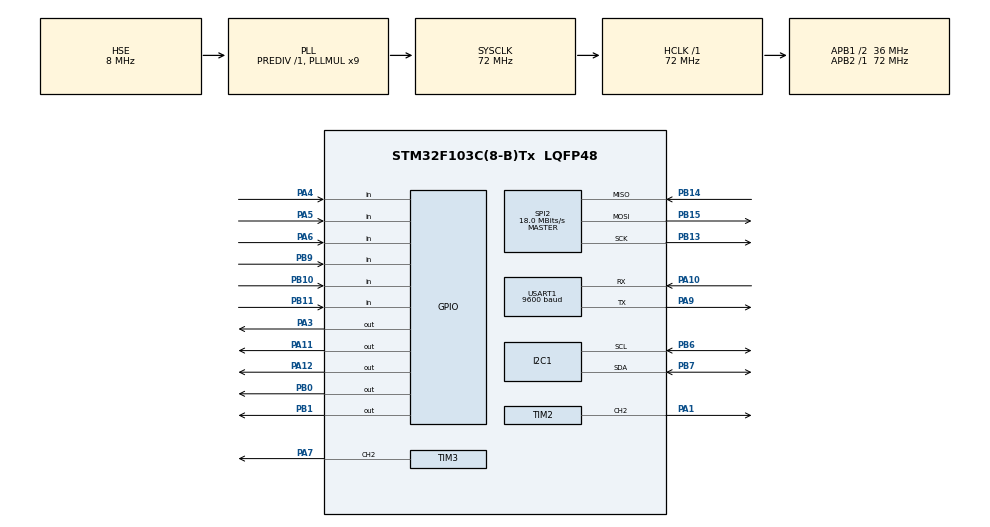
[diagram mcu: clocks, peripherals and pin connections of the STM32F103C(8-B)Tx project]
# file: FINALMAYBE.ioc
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Mcu.Family=STM32F1
Mcu.Name=STM32F103C(8-B)Tx
Mcu.Package=LQFP48
NVIC.I2C1_ER_IRQn=true\:0\:0\:false\:false\:true\:true\:true\:true
NVIC.I2C1_EV_IRQn=true\:0\:0\:false\:false\:true\:true\:true\:true
NVIC.PriorityGroup=NVIC_PRIORITYGROUP_4
NVIC.SPI2_IRQn=true\:0\:0\:false\:false\:true\:true\:true\:true
NVIC.TIM2_IRQn=true\:0\:0\:false\:false\:true\:true\:true\:true
NVIC.USART1_IRQn=true\:0\:0\:false\:false\:true\:true\:true\:true
PA1.Signal=S_TIM2_CH2
PA10.Mode=Asynchronous
PA10.Signal=USART1_RX
PA11.Signal=GPIO_Output
PA12.Signal=GPIO_Output
PA13.Mode=Serial_Wire
PA13.Signal=SYS_JTMS-SWDIO
PA14.Mode=Serial_Wire
PA14.Signal=SYS_JTCK-SWCLK
PA3.GPIO_PuPd=GPIO_PULLUP
PA3.Signal=GPIO_Output
PA4.GPIO_PuPd=GPIO_PULLDOWN
PA4.Signal=GPIO_Input
PA5.GPIO_PuPd=GPIO_PULLDOWN
PA5.Signal=GPIO_Input
PA6.GPIO_PuPd=GPIO_PULLDOWN
PA6.Signal=GPIO_Input
PA7.Signal=S_TIM3_CH2
PA9.Mode=Asynchronous
PA9.Signal=USART1_TX
PB0.Signal=GPIO_Output
PB1.Signal=GPIO_Output
PB10.Signal=GPIO_Input
PB11.Signal=GPIO_Input
PB13.Mode=Full_Duplex_Master
PB13.Signal=SPI2_SCK
PB14.Mode=Full_Duplex_Master
PB14.Signal=SPI2_MISO
PB15.Mode=Full_Duplex_Master
PB15.Signal=SPI2_MOSI
PB6.Mode=I2C
PB6.Signal=I2C1_SCL
PB7.Mode=I2C
PB7.Signal=I2C1_SDA
PB9.Signal=GPIO_Input
PD0-OSC_IN.Mode=HSE-External-Oscillator
PD0-OSC_IN.Signal=RCC_OSC_IN
PD1-OSC_OUT.Mode=HSE-External-Oscillator
PD1-OSC_OUT.Signal=RCC_OSC_OUT
ProjectManager.HeapSize=0x200
ProjectManager.StackSize=0x400
ProjectManager.TargetToolchain=MDK-ARM V5
RCC.AHBFreq_Value=72000000
RCC.APB1CLKDivider=RCC_HCLK_DIV2
RCC.APB1Freq_Value=36000000
RCC.APB1TimFreq_Value=72000000
RCC.APB2Freq_Value=72000000
RCC.APB2TimFreq_Value=72000000
RCC.HCLKFreq_Value=72000000
RCC.PLLMUL=RCC_PLL_MUL9
RCC.PLLSourceVirtual=RCC_PLLSOURCE_HSE
RCC.SYSCLKFreq_VALUE=72000000
RCC.SYSCLKSource=RCC_SYSCLKSOURCE_PLLCLK
RCC.USBFreq_Value=72000000
SH.S_TIM2_CH2.0=TIM2_CH2,PWM Generation2 CH2
SH.S_TIM3_CH2.0=TIM3_CH2,PWM Generation2 CH2
SPI2.BaudRatePrescaler=SPI_BAUDRATEPRESCALER_2
SPI2.CalculateBaudRate=18.0 MBits/s
SPI2.Direction=SPI_DIRECTION_2LINES
SPI2.Mode=SPI_MODE_MASTER
SPI2.VirtualType=VM_MASTER
TIM1.Prescaler=71
TIM2.Channel-PWM\ Generation2\ CH2=TIM_CHANNEL_2
TIM2.Period=999
TIM2.Prescaler=1440
TIM3.Channel-PWM\ Generation2\ CH2=TIM_CHANNEL_2
TIM3.Period=999
TIM3.Prescaler=1440
TIM4.Prescaler=71
USART1.BaudRate=9600
USART1.VirtualMode=VM_ASYNC
VP_TIM1_VS_ClockSourceINT.Mode=Internal
VP_TIM2_VS_ClockSourceINT.Mode=Internal
VP_TIM3_VS_ClockSourceINT.Mode=Internal
VP_TIM4_VS_ClockSourceINT.Mode=Internal
board=custom

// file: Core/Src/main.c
/* USER CODE BEGIN Header */
/**
  ******************************************************************************
  * @file           : main.c
  * @brief          : Main program body
  ******************************************************************************
  * @attention
  *
  * Copyright (c) 2022 STMicroelectronics.
  * All rights reserved.
  *
  * This software is licensed under terms that can be found in the LICENSE file
  * in the root directory of this software component.
  * If no LICENSE file comes with this software, it is provided AS-IS.
  *
  ******************************************************************************
  */
/* USER CODE END Header */
#include "main.h"

/* USER CODE BEGIN Includes */
#include "i2c-lcd.h"
#include "maxtric.h"
#include "hcsr04.h"
#include "stdio.h"
/* USER CODE END Includes */

/* USER CODE BEGIN PD */
/*#define No_Op  0x00
#define Digit0 0x01
#define Digit1 0x02
#define Digit2 0x03
#define Digit3 0x04
#define Digit4 0x05
#define Digit5 0x06
#define Digit6 0x07
#define Digit7 0x08

#define DecodeMode  0x09
#define Intensity   0x0A
#define ScanLimit   0x0B
#define Shutdown    0x0C
#define DisplayTest 0x0F

#define TRIG_PIN GPIO_PIN_0
#define TRIG_PORT GPIOB
#define ECHO_PIN GPIO_PIN_10
#define ECHO_PORT GPIOB

#define TRIG_PIN1 GPIO_PIN_1
#define TRIG_PORT1 GPIOB
#define ECHO_PIN1 GPIO_PIN_11
#define ECHO_PORT1 GPIOB*/
/* USER CODE END PD */

 I2C_HandleTypeDef hi2c1;

SPI_HandleTypeDef hspi2;

TIM_HandleTypeDef htim1;
TIM_HandleTypeDef htim2;
TIM_HandleTypeDef htim3;
TIM_HandleTypeDef htim4;

UART_HandleTypeDef huart1;

void SystemClock_Config(void);
static void MX_GPIO_Init(void);
static void MX_I2C1_Init(void);
static void MX_SPI2_Init(void);
static void MX_TIM2_Init(void);
static void MX_USART1_UART_Init(void);
static void MX_TIM3_Init(void);
static void MX_TIM1_Init(void);
static void MX_TIM4_Init(void);
/* USER CODE BEGIN PFP */
int find_distance(int distance);
void Show(int total);
void check_if(void);
int find_distance1(int distance);
void check_io_1(void);
void check_io_2(void);
void check_total(void);
void check_distance_in_open(void);
void check_distance_out_open(void);
void led_2_on(void);
void led_2_off(void);
void led_1_on(void);
void led_1_off(void);
void uart_send_distance_entrance(void);
void uart_send_distance_out(void);
/* USER CODE END PFP */

/* USER CODE BEGIN 0 */
int show_num0[8][8] =
{ {0, 0, 1, 1, 1, 1, 0, 0},
  {0, 1, 1, 0, 0, 1, 1, 0},
  {0, 1, 1, 1, 0, 0, 1, 0},
  {0, 1, 0, 1, 1, 0, 1, 0},
  {0, 1, 0, 0, 1, 1, 1, 0},
  {0, 1, 0, 0, 0, 1, 1, 0},
  {0, 1, 1, 0, 0, 1, 1, 0},
  {0, 0, 1, 1, 1, 1, 0, 0}
};
int show_num1[8][8] =
{ {0, 0, 0, 0, 1, 0, 0, 0},
  {0, 0, 0, 1, 1, 0, 0, 0},
  {0, 0, 1, 1, 1, 0, 0, 0},
  {0, 0, 0, 1, 1, 0, 0, 0},
  {0, 0, 0, 1, 1, 0, 0, 0},
  {0, 0, 0, 1, 1, 0, 0, 0},
  {0, 0, 0, 1, 1, 0, 0, 0},
  {0, 0, 1, 1, 1, 1, 0, 0}
};
int show_num2[8][8] =
{ {0, 0, 1, 1, 1, 1, 0, 0},
  {0, 1, 1, 0, 0, 1, 1, 0},
  {0, 1, 0, 0, 0, 1, 1, 0},
  {0, 1, 0, 0, 0, 1, 1, 0},
  {0, 0, 0, 1, 1, 1, 0, 0},
  {0, 0, 1, 1, 0, 0, 0, 0},
  {0, 1, 1, 0, 0, 0, 0, 0},
  {0, 1, 1, 1, 1, 1, 1, 0}
};
int show_num3[8][8] =
{ {0, 0, 1, 1, 1, 1, 0, 0},
  {0, 1, 0, 0, 0, 1, 1, 0},
  {0, 0, 0, 0, 0, 1, 1, 0},
  {0, 0, 0, 1, 1, 1, 1, 0},
  {0, 0, 0, 1, 1, 1, 1, 0},
  {0, 0, 0, 0, 0, 1, 1, 0},
  {0, 1, 0, 0, 0, 1, 1, 0},
  {0, 0, 1, 1, 1, 1, 0, 0}
};
int count=0;
int state1,state2,state3=0;
int total = 0;
char string[15];
int infor_one_time,infor_one_time_1,infor_one_time_leave,infor_one_time_leave_1=0;
uint16_t distance  = 0;
uint8_t msg_entrance[35];
uint8_t msg_out[35];
/* USER CODE END 0 */

int main(void)
{

  /* MCU Configuration--------------------------------------------------------*/

  /* Reset of all peripherals, Initializes the Flash interface and the Systick. */
  HAL_Init();

  /* USER CODE BEGIN Init */
	lcd_init();
  /* USER CODE END Init */

  /* Configure the system clock */
  SystemClock_Config();

  /* Initialize all configured peripherals */
  MX_GPIO_Init();
  MX_I2C1_Init();
  MX_SPI2_Init();
  MX_TIM2_Init();
  MX_USART1_UART_Init();
  MX_TIM3_Init();
  MX_TIM1_Init();
  MX_TIM4_Init();
  /* USER CODE BEGIN 2 */
  MAX7219_write(DecodeMode, 0x00);
  MAX7219_write(Intensity, 0x02);
  MAX7219_write(Shutdown, 0x01);
  MAX7219_write(DisplayTest, 0x00);
  MAX7219_write(ScanLimit, 0x07);
  MAX7219clear();//Clear MAX7219 LED Show
	HAL_TIM_PWM_Start(&htim2,TIM_CHANNEL_2);
	HAL_TIM_PWM_Start(&htim3,TIM_CHANNEL_2);
	HAL_TIM_Base_Start(&htim1);
  HAL_GPIO_WritePin(TRIG_PORT, TRIG_PIN, GPIO_PIN_RESET);
	HAL_TIM_Base_Start(&htim4);
  HAL_GPIO_WritePin(TRIG_PORT1, TRIG_PIN1, GPIO_PIN_RESET);
	lcd_clear();
	lcd_send_string(" Welcome ");
  /* USER CODE END 2 */

  /* Infinite loop */
  while (1)
  {

    /* USER CODE BEGIN 3 */
		__HAL_TIM_SET_COMPARE(&htim2,TIM_CHANNEL_2,75);
		HAL_Delay(300);
		__HAL_TIM_SET_COMPARE(&htim2,TIM_CHANNEL_2,25);
  /* USER CODE END 3 */
}

void SystemClock_Config(void)
{
  RCC_OscInitTypeDef RCC_OscInitStruct = {0};
  RCC_ClkInitTypeDef RCC_ClkInitStruct = {0};

  /** Initializes the RCC Oscillators according to the specified parameters
  * in the RCC_OscInitTypeDef structure.
  */
  RCC_OscInitStruct.OscillatorType = RCC_OSCILLATORTYPE_HSE;
  RCC_OscInitStruct.HSEState = RCC_HSE_ON;
  RCC_OscInitStruct.HSEPredivValue = RCC_HSE_PREDIV_DIV1;
  RCC_OscInitStruct.HSIState = RCC_HSI_ON;
  RCC_OscInitStruct.PLL.PLLState = RCC_PLL_ON;
  RCC_OscInitStruct.PLL.PLLSource = RCC_PLLSOURCE_HSE;
  RCC_OscInitStruct.PLL.PLLMUL = RCC_PLL_MUL9;
  if (HAL_RCC_OscConfig(&RCC_OscInitStruct) != HAL_OK)
  {
    Error_Handler();
  }

  /** Initializes the CPU, AHB and APB buses clocks
  */
  RCC_ClkInitStruct.ClockType = RCC_CLOCKTYPE_HCLK|RCC_CLOCKTYPE_SYSCLK
                              |RCC_CLOCKTYPE_PCLK1|RCC_CLOCKTYPE_PCLK2;
  RCC_ClkInitStruct.SYSCLKSource = RCC_SYSCLKSOURCE_PLLCLK;
  RCC_ClkInitStruct.AHBCLKDivider = RCC_SYSCLK_DIV1;
  RCC_ClkInitStruct.APB1CLKDivider = RCC_HCLK_DIV2;
  RCC_ClkInitStruct.APB2CLKDivider = RCC_HCLK_DIV1;

  if (HAL_RCC_ClockConfig(&RCC_ClkInitStruct, FLASH_LATENCY_2) != HAL_OK)
  {
    Error_Handler();
  }
}

static void MX_I2C1_Init(void)
{

  hi2c1.Instance = I2C1;
  hi2c1.Init.ClockSpeed = 100000;
  hi2c1.Init.DutyCycle = I2C_DUTYCYCLE_2;
  hi2c1.Init.OwnAddress1 = 0;
  hi2c1.Init.AddressingMode = I2C_ADDRESSINGMODE_7BIT;
  hi2c1.Init.DualAddressMode = I2C_DUALADDRESS_DISABLE;
  hi2c1.Init.OwnAddress2 = 0;
  hi2c1.Init.GeneralCallMode = I2C_GENERALCALL_DISABLE;
  hi2c1.Init.NoStretchMode = I2C_NOSTRETCH_DISABLE;
  if (HAL_I2C_Init(&hi2c1) != HAL_OK)
  {
    Error_Handler();
  }

}

static void MX_SPI2_Init(void)
{

  /* SPI2 parameter configuration*/
  hspi2.Instance = SPI2;
  hspi2.Init.Mode = SPI_MODE_MASTER;
  hspi2.Init.Direction = SPI_DIRECTION_2LINES;
  hspi2.Init.DataSize = SPI_DATASIZE_8BIT;
  hspi2.Init.CLKPolarity = SPI_POLARITY_LOW;
  hspi2.Init.CLKPhase = SPI_PHASE_1EDGE;
  hspi2.Init.NSS = SPI_NSS_SOFT;
  hspi2.Init.BaudRatePrescaler = SPI_BAUDRATEPRESCALER_2;
  hspi2.Init.FirstBit = SPI_FIRSTBIT_MSB;
  hspi2.Init.TIMode = SPI_TIMODE_DISABLE;
  hspi2.Init.CRCCalculation = SPI_CRCCALCULATION_DISABLE;
  hspi2.Init.CRCPolynomial = 10;
  if (HAL_SPI_Init(&hspi2) != HAL_OK)
  {
    Error_Handler();
  }

}

static void MX_TIM1_Init(void)
{

  TIM_ClockConfigTypeDef sClockSourceConfig = {0};
  TIM_MasterConfigTypeDef sMasterConfig = {0};

  htim1.Instance = TIM1;
  htim1.Init.Prescaler = 71;
  htim1.Init.CounterMode = TIM_COUNTERMODE_UP;
  htim1.Init.Period = 65535;
  htim1.Init.ClockDivision = TIM_CLOCKDIVISION_DIV1;
  htim1.Init.RepetitionCounter = 0;
  htim1.Init.AutoReloadPreload = TIM_AUTORELOAD_PRELOAD_DISABLE;
  if (HAL_TIM_Base_Init(&htim1) != HAL_OK)
  {
    Error_Handler();
  }
  sClockSourceConfig.ClockSource = TIM_CLOCKSOURCE_INTERNAL;
  if (HAL_TIM_ConfigClockSource(&htim1, &sClockSourceConfig) != HAL_OK)
  {
    Error_Handler();
  }
  sMasterConfig.MasterOutputTrigger = TIM_TRGO_RESET;
  sMasterConfig.MasterSlaveMode = TIM_MASTERSLAVEMODE_DISABLE;
  if (HAL_TIMEx_MasterConfigSynchronization(&htim1, &sMasterConfig) != HAL_OK)
  {
    Error_Handler();
  }

}

static void MX_TIM2_Init(void)
{

  TIM_ClockConfigTypeDef sClockSourceConfig = {0};
  TIM_MasterConfigTypeDef sMasterConfig = {0};
  TIM_OC_InitTypeDef sConfigOC = {0};

  htim2.Instance = TIM2;
  htim2.Init.Prescaler = 1440;
  htim2.Init.CounterMode = TIM_COUNTERMODE_UP;
  htim2.Init.Period = 999;
  htim2.Init.ClockDivision = TIM_CLOCKDIVISION_DIV1;
  htim2.Init.AutoReloadPreload = TIM_AUTORELOAD_PRELOAD_DISABLE;
  if (HAL_TIM_Base_Init(&htim2) != HAL_OK)
  {
    Error_Handler();
  }
  sClockSourceConfig.ClockSource = TIM_CLOCKSOURCE_INTERNAL;
  if (HAL_TIM_ConfigClockSource(&htim2, &sClockSourceConfig) != HAL_OK)
  {
    Error_Handler();
  }
  if (HAL_TIM_PWM_Init(&htim2) != HAL_OK)
  {
    Error_Handler();
  }
  sMasterConfig.MasterOutputTrigger = TIM_TRGO_RESET;
  sMasterConfig.MasterSlaveMode = TIM_MASTERSLAVEMODE_DISABLE;
  if (HAL_TIMEx_MasterConfigSynchronization(&htim2, &sMasterConfig) != HAL_OK)
  {
    Error_Handler();
  }
  sConfigOC.OCMode = TIM_OCMODE_PWM1;
  sConfigOC.Pulse = 0;
  sConfigOC.OCPolarity = TIM_OCPOLARITY_HIGH;
  sConfigOC.OCFastMode = TIM_OCFAST_DISABLE;
  if (HAL_TIM_PWM_ConfigChannel(&htim2, &sConfigOC, TIM_CHANNEL_2) != HAL_OK)
  {
    Error_Handler();
  }
  HAL_TIM_MspPostInit(&htim2);

}

static void MX_TIM3_Init(void)
{

  TIM_ClockConfigTypeDef sClockSourceConfig = {0};
  TIM_MasterConfigTypeDef sMasterConfig = {0};
  TIM_OC_InitTypeDef sConfigOC = {0};

  htim3.Instance = TIM3;
  htim3.Init.Prescaler = 1440;
  htim3.Init.CounterMode = TIM_COUNTERMODE_UP;
  htim3.Init.Period = 999;
  htim3.Init.ClockDivision = TIM_CLOCKDIVISION_DIV1;
  htim3.Init.AutoReloadPreload = TIM_AUTORELOAD_PRELOAD_DISABLE;
  if (HAL_TIM_Base_Init(&htim3) != HAL_OK)
  {
    Error_Handler();
  }
  sClockSourceConfig.ClockSource = TIM_CLOCKSOURCE_INTERNAL;
  if (HAL_TIM_ConfigClockSource(&htim3, &sClockSourceConfig) != HAL_OK)
  {
    Error_Handler();
  }
  if (HAL_TIM_PWM_Init(&htim3) != HAL_OK)
  {
    Error_Handler();
  }
  sMasterConfig.MasterOutputTrigger = TIM_TRGO_RESET;
  sMasterConfig.MasterSlaveMode = TIM_MASTERSLAVEMODE_DISABLE;
  if (HAL_TIMEx_MasterConfigSynchronization(&htim3, &sMasterConfig) != HAL_OK)
  {
    Error_Handler();
  }
  sConfigOC.OCMode = TIM_OCMODE_PWM1;
  sConfigOC.Pulse = 0;
  sConfigOC.OCPolarity = TIM_OCPOLARITY_HIGH;
  sConfigOC.OCFastMode = TIM_OCFAST_DISABLE;
  if (HAL_TIM_PWM_ConfigChannel(&htim3, &sConfigOC, TIM_CHANNEL_2) != HAL_OK)
  {
    Error_Handler();
  }
  HAL_TIM_MspPostInit(&htim3);

}

static void MX_TIM4_Init(void)
{

  TIM_ClockConfigTypeDef sClockSourceConfig = {0};
  TIM_MasterConfigTypeDef sMasterConfig = {0};

  htim4.Instance = TIM4;
  htim4.Init.Prescaler = 71;
  htim4.Init.CounterMode = TIM_COUNTERMODE_UP;
  htim4.Init.Period = 65535;
  htim4.Init.ClockDivision = TIM_CLOCKDIVISION_DIV1;
  htim4.Init.AutoReloadPreload = TIM_AUTORELOAD_PRELOAD_DISABLE;
  if (HAL_TIM_Base_Init(&htim4) != HAL_OK)
  {
    Error_Handler();
  }
  sClockSourceConfig.ClockSource = TIM_CLOCKSOURCE_INTERNAL;
  if (HAL_TIM_ConfigClockSource(&htim4, &sClockSourceConfig) != HAL_OK)
  {
    Error_Handler();
  }
  sMasterConfig.MasterOutputTrigger = TIM_TRGO_RESET;
  sMasterConfig.MasterSlaveMode = TIM_MASTERSLAVEMODE_DISABLE;
  if (HAL_TIMEx_MasterConfigSynchronization(&htim4, &sMasterConfig) != HAL_OK)
  {
    Error_Handler();
  }

}

static void MX_USART1_UART_Init(void)
{

  huart1.Instance = USART1;
  huart1.Init.BaudRate = 9600;
  huart1.Init.WordLength = UART_WORDLENGTH_8B;
  huart1.Init.StopBits = UART_STOPBITS_1;
  huart1.Init.Parity = UART_PARITY_NONE;
  huart1.Init.Mode = UART_MODE_TX_RX;
  huart1.Init.HwFlowCtl = UART_HWCONTROL_NONE;
  huart1.Init.OverSampling = UART_OVERSAMPLING_16;
  if (HAL_UART_Init(&huart1) != HAL_OK)
  {
    Error_Handler();
  }

}

static void MX_GPIO_Init(void)
{
  GPIO_InitTypeDef GPIO_InitStruct = {0};

  /* GPIO Ports Clock Enable */
  __HAL_RCC_GPIOD_CLK_ENABLE();
  __HAL_RCC_GPIOA_CLK_ENABLE();
  __HAL_RCC_GPIOB_CLK_ENABLE();

  /*Configure GPIO pin Output Level */
  HAL_GPIO_WritePin(GPIOA, GPIO_PIN_3|GPIO_PIN_11|GPIO_PIN_12, GPIO_PIN_RESET);

  /*Configure GPIO pin Output Level */
  HAL_GPIO_WritePin(GPIOB, GPIO_PIN_0|GPIO_PIN_1, GPIO_PIN_RESET);

  /*Configure GPIO pin : PA3 */
  GPIO_InitStruct.Pin = GPIO_PIN_3;
  GPIO_InitStruct.Mode = GPIO_MODE_OUTPUT_PP;
  GPIO_InitStruct.Pull = GPIO_PULLUP;
  GPIO_InitStruct.Speed = GPIO_SPEED_FREQ_LOW;
  HAL_GPIO_Init(GPIOA, &GPIO_InitStruct);

  /*Configure GPIO pins : PA4 PA5 PA6 */
  GPIO_InitStruct.Pin = GPIO_PIN_4|GPIO_PIN_5|GPIO_PIN_6;
  GPIO_InitStruct.Mode = GPIO_MODE_INPUT;
  GPIO_InitStruct.Pull = GPIO_PULLDOWN;
  HAL_GPIO_Init(GPIOA, &GPIO_InitStruct);

  /*Configure GPIO pins : PB0 PB1 */
  GPIO_InitStruct.Pin = GPIO_PIN_0|GPIO_PIN_1;
  GPIO_InitStruct.Mode = GPIO_MODE_OUTPUT_PP;
  GPIO_InitStruct.Pull = GPIO_NOPULL;
  GPIO_InitStruct.Speed = GPIO_SPEED_FREQ_LOW;
  HAL_GPIO_Init(GPIOB, &GPIO_InitStruct);

  /*Configure GPIO pins : PB10 PB11 PB9 */
  GPIO_InitStruct.Pin = GPIO_PIN_10|GPIO_PIN_11|GPIO_PIN_9;
  GPIO_InitStruct.Mode = GPIO_MODE_INPUT;
  GPIO_InitStruct.Pull = GPIO_NOPULL;
  HAL_GPIO_Init(GPIOB, &GPIO_InitStruct);

  /*Configure GPIO pins : PA11 PA12 */
  GPIO_InitStruct.Pin = GPIO_PIN_11|GPIO_PIN_12;
  GPIO_InitStruct.Mode = GPIO_MODE_OUTPUT_PP;
  GPIO_InitStruct.Pull = GPIO_NOPULL;
  GPIO_InitStruct.Speed = GPIO_SPEED_FREQ_LOW;
  HAL_GPIO_Init(GPIOA, &GPIO_InitStruct);

}

/* USER CODE BEGIN 4 */

void check_io_1()
{
	if (HAL_GPIO_ReadPin(GPIOA,GPIO_PIN_4)==GPIO_PIN_RESET)
			{
				state1=1;
				led_1_on();
				while(infor_one_time==0)
				{
					char str[] ="infrared obstacle 1: = 1\n";
					HAL_UART_Transmit(&huart1,(uint8_t*)&str,sizeof(str),1000);
					infor_one_time=infor_one_time+1;
				}
				total=state1+state2;
			}
			else
			{
				state1=0;
				led_1_off();
				infor_one_time_leave=infor_one_time+1;
					if(infor_one_time_leave==1)
					{
						total=state1+state2;
					}
					else
					{
						char str[] ="infrared obstacle 1: = 0\n";
						HAL_UART_Transmit(&huart1,(uint8_t*)&str,sizeof(str),1000);
						infor_one_time_leave=infor_one_time_leave-2;
						infor_one_time=infor_one_time-1;
						total=state1+state2+state3;
					}
			}
}
void check_io_2()
{
	if (HAL_GPIO_ReadPin(GPIOA,GPIO_PIN_5)==GPIO_PIN_RESET)
	{
		state2=1;
		led_2_on();
		while(infor_one_time_1==0)
			{
				char str[] ="infrared obstacle 2: = 1\n";
				HAL_UART_Transmit(&huart1,(uint8_t*)&str,sizeof(str),1000);
				infor_one_time_1=infor_one_time_1+1;
			}
		total=state1+state2;
	}
		else
		{
			state2=0;
			led_2_off();
			infor_one_time_leave_1=infor_one_time_1+1;
				if(infor_one_time_leave_1==1)
				{
					total=state1+state2;
				}
				else
				{
					char str[] ="infrared obstacle 2: = 0\n";
					HAL_UART_Transmit(&huart1,(uint8_t*)&str,sizeof(str),1000);
					infor_one_time_leave_1=infor_one_time_leave_1-2;
					infor_one_time_1=infor_one_time_1-1;
					total=state1+state2+state3;
				}
		}
}
void check_total()
{
	if(total==0)
		{
			lcd_clear();
			draw(&show_num0[0]);
			lcd_put_cur(0,1);
			lcd_send_string(" EMPTY SPACE ");
		}
		if(total==1)
		{
			lcd_clear();
			draw(&show_num1[0]);
			lcd_put_cur(1,2);
			lcd_send_string("1 SPACE LEFT ");
		}
		if(total==2)
		{
			lcd_clear();
			draw(&show_num2[0]);
			lcd_put_cur(0,1);
			lcd_send_string(" Full Space ");
			HAL_Delay(30);
		}
}
void check_distance_in_open()
{
	while(check_distance_in(distance)<10)
				{
					if(total==2)
					{
							__HAL_TIM_SET_COMPARE(&htim2,TIM_CHANNEL_2,75);
					}
					else
					{
						__HAL_TIM_SET_COMPARE(&htim2,TIM_CHANNEL_2,25);
					}
			HAL_Delay(2000);
		__HAL_TIM_SET_COMPARE(&htim2,TIM_CHANNEL_2,75);	// outpwm
				}
}
void check_distance_out_open()
{
	if(check_distance_out(distance)<10)
				{
					__HAL_TIM_SET_COMPARE(&htim3,TIM_CHANNEL_2,25);
				}
				else
				{
					HAL_Delay(2000);
				__HAL_TIM_SET_COMPARE(&htim3,TIM_CHANNEL_2,75);
				}
}
void led_2_on()
{
	HAL_GPIO_WritePin(GPIOA,GPIO_PIN_12,GPIO_PIN_SET);
}
void led_2_off()
{
	HAL_GPIO_WritePin(GPIOA,GPIO_PIN_12,GPIO_PIN_RESET);
}
void led_1_off()
{
	HAL_GPIO_WritePin(GPIOA,GPIO_PIN_11,GPIO_PIN_RESET);
}
void led_1_on()
{
	HAL_GPIO_WritePin(GPIOA,GPIO_PIN_11,GPIO_PIN_SET);
}
void uart_send_distance_entrance()
{
		sprintf(msg_entrance, "Distance sensor entrance = %d\r\n", check_distance_in(distance));
		HAL_UART_Transmit(&huart1, msg_entrance, sizeof(msg_entrance), 100);
}
void uart_send_distance_out()
{
		sprintf(msg_out, "Distance sensor out = %d\r\n", check_distance_out(distance));
		HAL_UART_Transmit(&huart1, msg_out, sizeof(msg_out), 100);
}

/* USER CODE END 4 */

void Error_Handler(void)
{
  __disable_irq();
  while (1)
  {
  }
}
